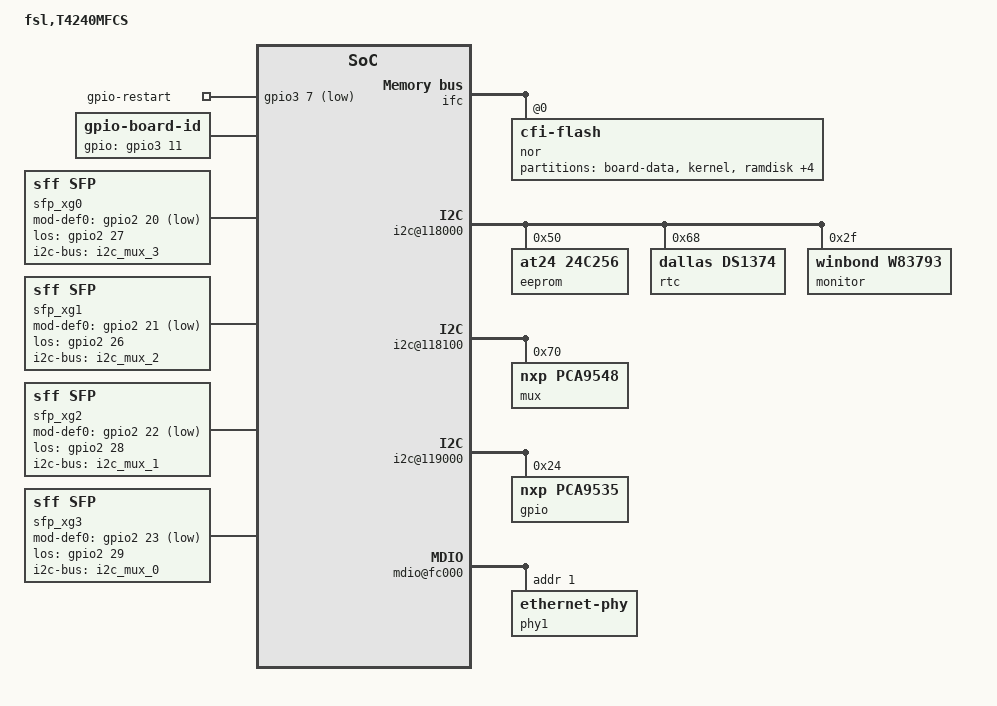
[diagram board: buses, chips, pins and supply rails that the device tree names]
/*
 * T4240MFCS Scale-out Device Tree Source
 *
 * Copyright 2012 - 2015 Freescale Semiconductor Inc.
 *
 * Redistribution and use in source and binary forms, with or without
 * modification, are permitted provided that the following conditions are met:
 *     * Redistributions of source code must retain the above copyright
 *	notice, this list of conditions and the following disclaimer.
 *     * Redistributions in binary form must reproduce the above copyright
 *	notice, this list of conditions and the following disclaimer in the
 *	documentation and/or other materials provided with the distribution.
 *     * Neither the name of Freescale Semiconductor nor the
 *	names of its contributors may be used to endorse or promote products
 *	derived from this software without specific prior written permission.
 *
 *
 * ALTERNATIVELY, this software may be distributed under the terms of the
 * GNU General Public License ("GPL") as published by the Free Software
 * Foundation, either version 2 of that License or (at your option) any
 * later version.
 *
 * THIS SOFTWARE IS PROVIDED BY Freescale Semiconductor ``AS IS'' AND ANY
 * EXPRESS OR IMPLIED WARRANTIES, INCLUDING, BUT NOT LIMITED TO, THE IMPLIED
 * WARRANTIES OF MERCHANTABILITY AND FITNESS FOR A PARTICULAR PURPOSE ARE
 * DISCLAIMED. IN NO EVENT SHALL Freescale Semiconductor BE LIABLE FOR ANY
 * DIRECT, INDIRECT, INCIDENTAL, SPECIAL, EXEMPLARY, OR CONSEQUENTIAL DAMAGES
 * (INCLUDING, BUT NOT LIMITED TO, PROCUREMENT OF SUBSTITUTE GOODS OR SERVICES;
 * LOSS OF USE, DATA, OR PROFITS; OR BUSINESS INTERRUPTION) HOWEVER CAUSED AND
 * ON ANY THEORY OF LIABILITY, WHETHER IN CONTRACT, STRICT LIABILITY, OR TORT
 * (INCLUDING NEGLIGENCE OR OTHERWISE) ARISING IN ANY WAY OUT OF THE USE OF THIS
 * SOFTWARE, EVEN IF ADVISED OF THE POSSIBILITY OF SUCH DAMAGE.
 */

#include <dt-bindings/gpio/gpio.h>

#define QORIQ_SCOPE
#define FMAN0_1G0
#define FMAN0_10G0
#define FMAN0_10G1
#define FMAN1_10G0
#define FMAN1_10G1

#define DIRECT_PHY_1G

#define MEM_HIGH	0xfc
#define BRD_HIGH	0xff

#include "t4240si-pre.dtsi"

/ {
	model = "fsl,T4240MFCS";
	/* Compat with QDS */
	compatible = "fsl,T4240QDS";
	#address-cells = <2>;
	#size-cells = <2>;
	interrupt-parent = <&mpic>;

	ifc: localbus@ffe124000 {
		reg = <BRD_HIGH 0xfe124000 0 0x2000>;
		ranges = <0 0 BRD_HIGH 0xe8000000 0x08000000
			  2 0 BRD_HIGH 0xff800000 0x00010000
			  3 0 BRD_HIGH 0xffdf0000 0x00008000>;

		nor@0,0 {
			#address-cells = <1>;
			#size-cells = <1>;
			compatible = "cfi-flash";
			reg = <0x0 0x0 0x8000000>;

			bank-width = <2>;
			device-width = <1>;

		// name     offset      size		alternate
		// ------------------------------------------------------
		// bd-info: <0x00000000 0x00020000>     0x04000000   128k
		//  kernel: <0x00020000 0x009e0000>     0x04020000 10112k
		// ramdisk: <0x00a00000 0x034e0000>     0x04a00000 54144k
		//     fdt: <0x03ee0000 0x00020000>     0x07ee0000   128k
		//    fman: <0x03f00000 0x00020000>     0x07f00000   128k
		//     env: <0x03f20000 0x00020000>     0x07f20000   128k
		//   uboot: <0x03f40000 0x000c0000>     0x07f40000   768k

			// Board Data: RCW, PBI, ???
			partition@bd {
				reg = <0x00000000 0x00020000>;
				label = "board-data";
			};

			// Linux Kernel
			partition@lx {
				reg = <0x00020000 0x009e0000>;
				label = "kernel";
			};

			// RAMDisk
			partition@rd {
				reg = <0x00a00000 0x034e0000>;
				label = "ramdisk";
			};

			// Device tree
			partition@dtb {
				reg = <0x03ee0000 0x00020000>;
				label = "dtb";
			};

			// FMan u-code
			partition@fm {
				reg = <0x03f00000 0x00020000>;
				label = "fman-ucode";
			};

			// U-Boot Env
			partition@env {
				reg = <0x03f20000 0x00020000>;
				label = "env";
			};

			// U-Boot
			partition@ub {
				reg = <0x03f40000 0x000c0000>;
				label = "uboot";
			};
		};
	};

	memory {
		device_type = "memory";
	};

	reserved-memory {
		#address-cells = <2>;
		#size-cells = <2>;
		ranges;

		bman_fbpr: bman-fbpr {
			size = <0 0x1000000>;
			alignment = <0 0x1000000>;
		};
		qman_fqd: qman-fqd {
			size = <0 0x400000>;
			alignment = <0 0x400000>;
		};
		qman_pfdr: qman-pfdr {
			size = <0 0x2000000>;
			alignment = <0 0x2000000>;
		};
	};

	dcsr: dcsr@f00000000 {
		ranges = <0x0 BRD_HIGH 0x00000000 0x01072000>;
	};

	bportals: bman-portals@ff4000000 {
		ranges = <0x0 BRD_HIGH 0xf4000000 0x2000000>;
	};

	qportals: qman-portals@ff6000000 {
		ranges = <0x0 BRD_HIGH 0xf6000000 0x2000000>;
	};

	soc: soc@ffe000000 {
		ranges = <0x00000000 BRD_HIGH 0xfe000000 0x1000000>;
		reg = <BRD_HIGH 0xfe000000 0 0x00001000>;

		gpio-restart {
			compatible = "gpio-restart";
			gpios = <&gpio3 7 GPIO_ACTIVE_LOW>;
			priority = <200>;
		};

		gpio-board-id {
			compatible = "gpio-board-id";
			gpios = <&gpio3 11 GPIO_OPEN_SOURCE>;
		};

		i2c@118000 {
			eeprom@50 {
				compatible = "at24,24c256";
				reg = <0x50>;
			};
			rtc@68 {
				compatible = "dallas,ds1374";
				reg = <0x68>;
				interrupts = <0x1 0x1 0 0>;
			};
			monitor@2f {
				compatible = "winbond,w83793";
				reg = <0x2f>;
			};
		};

		i2c@118100 {
			mux@70 {
				compatible = "nxp,pca9548";
				#address-cells = <1>;
				#size-cells = <0>;
				reg = <0x70>;


				i2c_mux_0: i2c@0 {
					#address-cells = <1>;
					#size-cells = <0>;
					reg = <0>;
				};

				i2c_mux_1: i2c@1 {
					#address-cells = <1>;
					#size-cells = <0>;
					reg = <1>;
				};

				i2c_mux_2: i2c@2 {
					#address-cells = <1>;
					#size-cells = <0>;
					reg = <2>;
				};

				i2c_mux_3: i2c@3 {
					#address-cells = <1>;
					#size-cells = <0>;
					reg = <3>;
				};
			};
		};

		i2c@119000 {
			gpio@24 {
				compatible = "nxp,pca9535";
				gpio-controller;
				#gpio-cells = <0x02>;
				reg = <0x24>;
			};
		};

		i2c@119100 {
		};

		sdhc@114000 {
			voltage-ranges = <1800 1800 3300 3300>;
		};
	};

	rio: rapidio@ffe0c0000 {
		reg = <BRD_HIGH 0xfe0c0000 0 0x11000>;

		port1 {
			ranges = <0 0 MEM_HIGH 0x40000000 0 0x10000000>;
		};

		port2 {
			ranges = <0 0 MEM_HIGH 0x50000000 0 0x10000000>;
		};
	};

	pci0: pcie@ffe240000 {
		reg = <BRD_HIGH 0xfe240000 0 0x10000>;
		ranges = <0x02000000 0 0xe0000000 MEM_HIGH 0x00000000 0x0 0x20000000
			  0x01000000 0 0x00000000 BRD_HIGH 0xf8000000 0x0 0x00020000>;
		pcie@0 {
			ranges = <0x02000000 0 0xe0000000
				  0x02000000 0 0xe0000000
				  0 0x20000000

				  0x01000000 0 0x00000000
				  0x01000000 0 0x00000000
				  0 0x00020000>;
		};
	};

	pci2: pcie@ffe260000 {
		reg = <BRD_HIGH 0xfe260000 0 0x10000>;
		ranges = <0x02000000 0 0xe0000000 MEM_HIGH 0x20000000 0 0x20000000
			  0x01000000 0 0x00000000 BRD_HIGH 0xf8020000 0 0x00020000>;
		pcie@0 {
			ranges = <0x02000000 0 0xe0000000
				  0x02000000 0 0xe0000000
				  0 0x20000000

				  0x01000000 0 0x00000000
				  0x01000000 0 0x00000000
				  0 0x00020000>;
		};
	};
};

#include "t4240si-post.dtsi"

/ {
	/* Redo aliases so we get proper ordering in relation to the back
	 * panel when udev renames things. */
	aliases {
		/* ethernet0 is 1g, leave it */
		/delete-property/ ethernet6;
		/delete-property/ ethernet7;
		/delete-property/ ethernet14;
		/delete-property/ ethernet15;
		ethernet1 = &enet14;
		ethernet2 = &enet15;
		ethernet3 = &enet7;
		ethernet4 = &enet6;
	};

	/* Back Panel Port 1 */
	sfp_xg0: xg-sfp0 {
		compatible = "sff,sfp";
		i2c-bus = <&i2c_mux_3>;
		mod-def0-gpios = <&gpio2 20 GPIO_ACTIVE_LOW>;
		los-gpios = <&gpio2 27 GPIO_ACTIVE_HIGH>;
		/* tx-disable-gpios = <&gpio2 30 GPIO_ACTIVE_HIGH>; */
	};

	/* Back Panel Port 2 */
	sfp_xg1: xg-sfp1 {
		compatible = "sff,sfp";
		i2c-bus = <&i2c_mux_2>;
		mod-def0-gpios = <&gpio2 21 GPIO_ACTIVE_LOW>;
		los-gpios = <&gpio2 26 GPIO_ACTIVE_HIGH>;
	};

	/* Back Panel Port 3 */
	sfp_xg2: xg-sfp2 {
		compatible = "sff,sfp";
		i2c-bus = <&i2c_mux_1>;
		mod-def0-gpios = <&gpio2 22 GPIO_ACTIVE_LOW>;
		los-gpios = <&gpio2 28 GPIO_ACTIVE_HIGH>;
	};

	/* Back Panel Port 4 */
	sfp_xg3: xg-sfp3 {
		compatible = "sff,sfp";
		i2c-bus = <&i2c_mux_0>;
		mod-def0-gpios = <&gpio2 23 GPIO_ACTIVE_LOW>;
		los-gpios = <&gpio2 29 GPIO_ACTIVE_HIGH>;
	};

	soc@ffe000000 {
		fman@400000 {
			/* FM1 1G 1 */
			ethernet@e0000 {
				/delete-property/ pcs-handle-names;
				pcsphy-handle = <&pcsphy0>;
				#ifdef DIRECT_PHY_1G
				phy-handle = <&phy1>;
				#endif
			};

			/* FM1 10G 1, Back Panel Port 4 */
			ethernet@f0000 {
				/delete-property/ pcs-handle-names;
				pcsphy-handle = <&pcsphy6>;
				sfp = <&sfp_xg3>;
			};

			/* FM1 10G 2, Back Panel Port 3 */
			ethernet@f2000 {
				/delete-property/ pcs-handle-names;
				pcsphy-handle = <&pcsphy7>;
				sfp = <&sfp_xg2>;
			};

			/* U-Boot needs the extra for LIODN */
			port@88000 {
		                compatible = "fsl,fman-v3-port-rx", "fsl,fman-port-1g-rx";
			};

			port@90000 {
				compatible = "fsl,fman-v3-port-rx", "fsl,fman-port-10g-rx";
			};

			port@91000 {
				compatible = "fsl,fman-v3-port-rx", "fsl,fman-port-10g-rx";
			};

			#ifdef QORIQ_SCOPE
			/delete-node/ mdio@e9000;
			/delete-node/ mdio@fc000;
			/delete-node/ mdio@fd000;
			#endif
		};

		fman@500000 {
			/* FM2 10G 1, Back Panel Port 1 */
			ethernet@f0000 {
				/delete-property/ pcs-handle-names;
				pcsphy-handle = <&pcsphy14>;
				sfp = <&sfp_xg0>;
			};

			/* FM2 10G 2, Back Panel Port 2 */
			ethernet@f2000 {
				/delete-property/ pcs-handle-names;
				pcsphy-handle = <&pcsphy15>;
				sfp = <&sfp_xg1>;
			};

			port@90000 {
				compatible = "fsl,fman-v3-port-rx", "fsl,fman-port-10g-rx";
			};

                        port@91000 {
				compatible = "fsl,fman-v3-port-rx", "fsl,fman-port-10g-rx";
			};

			#ifdef DIRECT_PHY_1G
			mdio@fc000 {
				phy1: ethernet-phy@1 {
					reg = <0x01>;
				};
			};
			#endif

			#ifdef QORIQ_SCOPE
			/delete-node/ mdio@e9000;
			#ifndef DIRECT_PHY_1G
			/delete-node/ mdio@fc000;
			#endif
			/delete-node/ mdio@fd000;
			#endif
		};
	};
};
